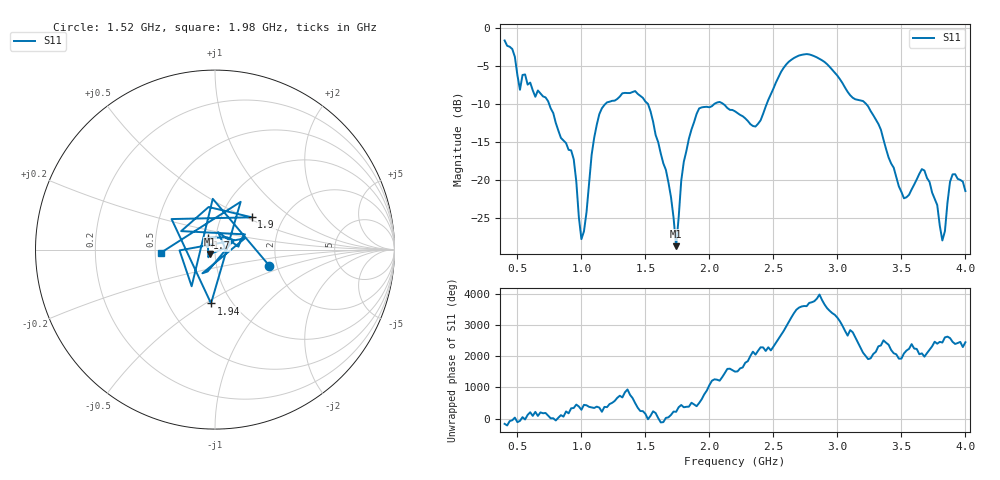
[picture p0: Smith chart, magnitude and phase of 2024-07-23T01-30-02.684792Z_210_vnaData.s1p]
!Created with skrf (http://scikit-rf.org).
# Hz S RI R 50.0
!freq ReS11 ImS11
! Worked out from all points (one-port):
!   181 points, 400 MHz to 4 GHz, reference 50 ohm
!   lowest |S11| = -28.7 dB at 1.74 GHz (marker M1), VSWR 1.08, Z = 47.3 - j2.31 ohm
!   |S11| at or under -10 dB: 747.8 MHz to 1.187 GHz (439.4 MHz wide, 45.4 % of centre); 1.52 GHz to 2.038 GHz (517.6 MHz wide, 29.1 % of centre); 3.224 GHz to end of sweep (the widest 3 of 4)
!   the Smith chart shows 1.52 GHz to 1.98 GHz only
!   S11 on the Smith chart (normalised r, x): 1.52 GHz: 1.82, -0.37; 1.7 GHz: 0.91, +0.12; 1.9 GHz: 1.39, +0.54; 1.94 GHz: 0.80, -0.53; 1.98 GHz: 0.54, -0.02
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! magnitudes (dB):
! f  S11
! 400 MHz  -1.6
! 480 MHz  -3.8
! 520 MHz  -8.1
! 560 MHz  -6.1
! 720 MHz  -9.1
! 860 MHz  -14.8
! 940 MHz  -17.3
! 1 GHz  -27.8
! 1.14 GHz  -11.3
! 1.3 GHz  -9.0
! 1.52 GHz  -10.0
! 1.7 GHz  -22.3
! 1.74 GHz  -28.7
! 1.76 GHz  -24.9
! 1.8 GHz  -17.6
! 1.9 GHz  -11.3
! 1.94 GHz  -10.4
! 1.98 GHz  -10.4
! 2.2 GHz  -11.0
! 2.36 GHz  -13.0
! 2.66 GHz  -4.0
! 3.1 GHz  -8.9
! 3.24 GHz  -10.3
! 3.56 GHz  -21.9
! 3.68 GHz  -18.8
! 3.82 GHz  -27.9
! 3.9 GHz  -19.3
! 4 GHz  -21.4
